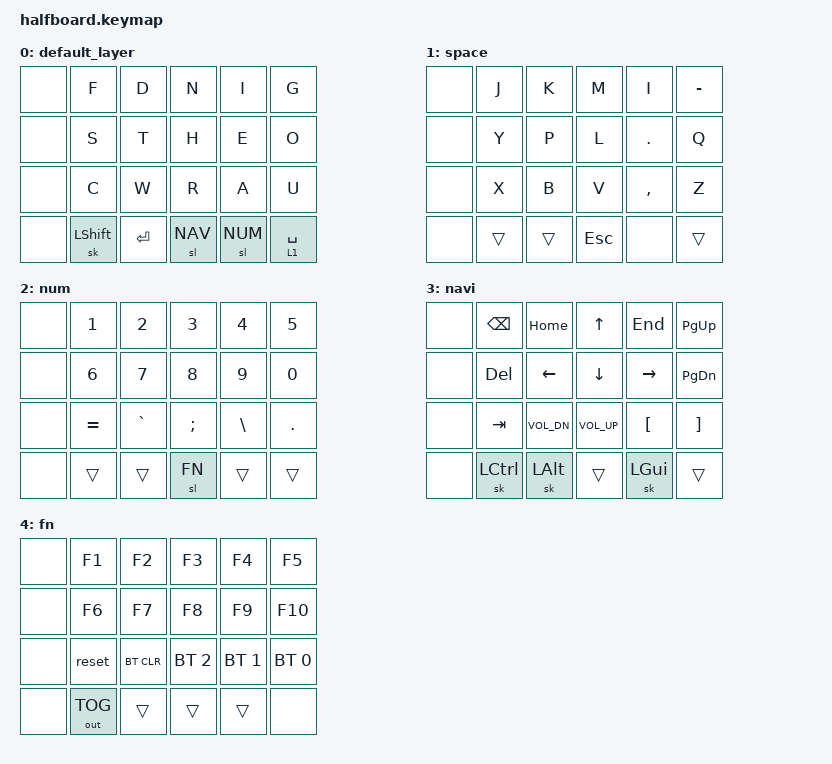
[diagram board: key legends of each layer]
/*
 * Copyright (c) 2020 The ZMK Contributors
 *
 * SPDX-License-Identifier: MIT
 */

#include <behaviors.dtsi>
#include <dt-bindings/zmk/keys.h>
#include <dt-bindings/zmk/bt.h>
#include <dt-bindings/zmk/outputs.h>

#define DEFAULT 0
#define NUM   2
#define NAV   3
#define FN    4

&lt {
    tapping_term_ms = <150>;
};
/ {
	keymap {
		compatible = "zmk,keymap";

		default_layer {
				bindings = <
					&none &kp F      &kp D   &kp N   &kp I   &kp G  
					&none &kp S      &kp T   &kp H   &kp E   &kp O  
					&none &kp C      &kp W   &kp R   &kp A   &kp U  
					&none &sk LSHFT &kp RET &sl NAV &sl NUM &lt 1 SPACE
				>;
			};

		space {
				bindings = <
					&none  &kp J  &kp K  &kp M    &kp I    &kp MINUS  
					&none  &kp Y  &kp P  &kp L    &kp DOT  &kp Q  
					&none  &kp X  &kp B  &kp V    &kp COMMA &kp Z  
					&none  &trans &trans &kp ESC  &none    &trans
				>;
		};

		num {
				bindings = <
					&none &kp N1    &kp N2    &kp N3   &kp N4    &kp N5 
					&none &kp N6    &kp N7    &kp N8   &kp N9    &kp N0  
					&none &kp EQUAL &kp GRAVE &kp SEMI &kp BSLH &kp DOT  
					&none &trans    &trans    &sl FN   &trans    &trans
				>;
		};
		navi {
				bindings = <
					&none &kp BSPC  &kp HOME     &kp UP       &kp END   &kp PG_UP 
					&none &kp DEL   &kp LEFT     &kp DOWN     &kp RIGHT &kp PG_DN
					&none &kp TAB   &kp C_VOL_DN &kp C_VOL_UP &kp LBKT  &kp RBKT  
					&none &sk LCTRL &sk LALT     &trans       &sk LGUI  &trans
				>;
		};
		fn {
				bindings = <
					&none &kp F1       &kp F2     &kp F3       &kp F4       &kp F5  
					&none &kp F6       &kp F7     &kp F8       &kp F9       &kp F10
					&none &reset       &bt BT_CLR &bt BT_SEL 2 &bt BT_SEL 1 &bt BT_SEL 0  
					&none &out OUT_TOG &trans     &trans       &trans       &none
				>;
		};
	};
};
